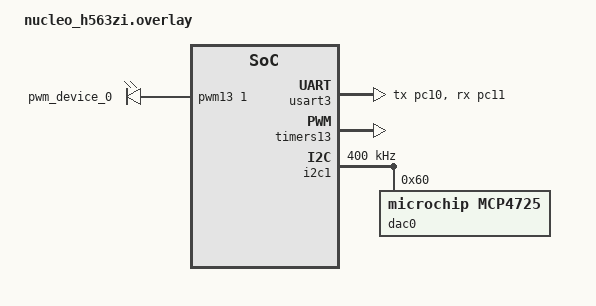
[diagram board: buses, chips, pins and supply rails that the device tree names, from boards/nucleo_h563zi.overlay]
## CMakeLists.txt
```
cmake_minimum_required(VERSION 3.20.0)

#set(ZEPHYR_TOOLCHAIN_VARIANT gnuarmemb)
#set(BOARD_FLASH_RUNNER jlink)

find_package(Zephyr REQUIRED HINTS $ENV{ZEPHYR_BASE})

project(
        app1
        VERSION 0.1
        DESCRIPTION "Blinky app1"
        LANGUAGES C
)

target_sources(app PRIVATE
        src/main.c
        src/usr_fun.c
        src/shell.c)

#target_sources_ifdef(
#    CONFIG_USR_FUN
#    app
#    PRIVATE
#    src/usr_fun.c
#)
```

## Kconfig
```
mainmenu "Customized Menu Name"
source "Kconfig.zephyr"

menu "Application Options"
config USR_FUN
	bool "Enable usr_fun"
	default n
	help
	  Enables the usr_fun function.
endmenu
```

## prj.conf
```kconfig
# --------------------------------------------------
# Application-Specific Settings
# --------------------------------------------------

# Enable custom user-defined functionality
CONFIG_USR_FUN=y

# --------------------------------------------------
# Thread and RTOS Configuration
# --------------------------------------------------

# Enable thread naming (useful for debugging)
CONFIG_THREAD_NAME=y

# Enable stack sentinel to check for stack overflows
CONFIG_STACK_SENTINEL=y

# Generate a file specifying the maximum stack usage per function
CONFIG_STACK_USAGE=y

# --------------------------------------------------
# Tracing and Debugging (SystemView & RTT)
# --------------------------------------------------

# Enable system-wide tracing (required for SystemView)
CONFIG_TRACING=y

# Enable SEGGER SystemView support
CONFIG_SEGGER_SYSTEMVIEW=y

# Start tracing automatically on system boot
CONFIG_SEGGER_SYSTEMVIEW_BOOT_ENABLE=y

# Use SEGGER RTT as the backend for tracing and logging
CONFIG_USE_SEGGER_RTT=y

# Always initialize the RTT backend, even if a debugger is not attached
CONFIG_SEGGER_RTT_INIT_MODE_ALWAYS=y

# Include thread metadata (names, IDs) in the trace output
CONFIG_DEBUG_THREAD_INFO=y

# --------------------------------------------------
# Logging System
# --------------------------------------------------

# Enable the logging subsystem
CONFIG_LOG=y

# Use deferred logging (messages are buffered and processed by a thread)
CONFIG_LOG_MODE_DEFERRED=y

# Allow changing log verbosity levels at runtime
CONFIG_LOG_RUNTIME_FILTERING=y

# Redirect printk() output to the logging system
CONFIG_LOG_PRINTK=y

# Process log buffer as soon as any message is added
CONFIG_LOG_PROCESS_TRIGGER_THRESHOLD=0

# Set the size of the log message buffer (in bytes)
CONFIG_LOG_BUFFER_SIZE=2048

# Set INFO level log color to green
CONFIG_LOG_INFO_COLOR_GREEN=y

# Set DEBUG level log color to blue
CONFIG_LOG_DBG_COLOR_BLUE=y

# Disable code coverage analysis
CONFIG_COVERAGE=n

# --------------------------------------------------
# Shell System
# --------------------------------------------------

# Enable the shell interface
CONFIG_SHELL=y

# Enable the shell as a backend for viewing logs
CONFIG_SHELL_LOG_BACKEND=y

# Set the shell prompt for the UART backend
CONFIG_SHELL_PROMPT_UART=">"

# Set the size of the shell command history buffer
CONFIG_SHELL_HISTORY_BUFFER=128

# Enable shell commands for controlling the logging system
CONFIG_LOG_CMDS=y

# Enable shell commands for kernel information (threads, etc.)
CONFIG_KERNEL_SHELL=y

# Enable shell commands for device information
CONFIG_DEVICE_SHELL=y

# Enable shell commands for PWM control
CONFIG_PWM_SHELL=y

# Disable shell commands for direct memory access (devmem)
CONFIG_DEVMEM_SHELL=n

# Disable return value reporting for shell commands
CONFIG_SHELL_CMDS_RETURN_VALUE=n

# Disable advanced meta key handling (e.g., Alt+key combinations)
CONFIG_SHELL_METAKEYS=n

# Disable shell terminal resize support
CONFIG_SHELL_CMDS_RESIZE=n

# --------------------------------------------------
# Device Drivers
# --------------------------------------------------

# Enable the PWM (Pulse-Width Modulation) subsystem
CONFIG_PWM=y

# Enable the STM32-specific PWM driver
CONFIG_PWM_STM32=y

# Enable DAC (Digital-to-Analog Converter) subsystem
CONFIG_DAC=y

# Enable support for MCP4725 I2C DAC driver
CONFIG_DAC_MCP4725=y

# Enable I2C subsystem support
CONFIG_I2C=y

CONFIG_STM32_VREF=y

CONFIG_SENSOR=y
```

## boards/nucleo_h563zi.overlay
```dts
/ {
  /* --------------------------------------------------
   * Aliases for easier reference in application code
   * -------------------------------------------------- */
  aliases {
    led1 = &yellow_led_1;       // Alias for yellow LED
    led2 = &red_led_1;          // Alias for red LED
    usrbtn = &user_button;      // Alias for user push button
    mypwmalias = &pwm_device_0; // Alias for custom PWM device
  };

  /* --------------------------------------------------
   * Chosen section (empty for now, but used for defaults)
   * Example: stdout, entropy-source, etc.
   * -------------------------------------------------- */
  chosen {
    // No defaults set yet
  };

  /* --------------------------------------------------
   * Logical container for PWM-driven devices (e.g. LEDs)
   * Uses the "pwm-leds" binding to represent PWM channels
   * since a custom container doesn't work due to a bug
   * -------------------------------------------------- */
  pwm_devices {
    compatible = "pwm-leds";

    pwm_device_0: pwm_device_0 {
      pwms = <&pwm13 1 PWM_MSEC(1000) (PWM_POLARITY_NORMAL)>;
    };
  };
};

/* --------------------------------------------------
 * USART3 configuration (for UART or serial)
 * Maps TX to PC10 and RX to PC11
 * -------------------------------------------------- */
&usart3 {
  pinctrl-0 = <&usart3_tx_pc10 &usart3_rx_pc11>;
};

/* --------------------------------------------------
 * TIM13 Timer peripheral setup for PWM
 * Enables the timer and configures PWM output on PF8
 * -------------------------------------------------- */
&timers13 {
  status = "okay";                    // Enable timer 13
  st,prescaler = <10000>;             // Set hardware prescaler

  pwm13: pwm {
    pinctrl-0 = <&tim13_ch1_pf8>;     // Map channel 1 to pin PF8
    pinctrl-names = "default";
    status = "okay";
  };
};

/* --------------------------------------------------
 * I2C1 peripheral setup
 * Enables the peripheral and adds MCP4725 DAC on the
 * bus with addr 0x60
 * -------------------------------------------------- */
&i2c1 {
  status = "okay";                                  // Enable I2C1 peripheral
  clock-frequency = <I2C_BITRATE_FAST>;             // Set I2C clock speed (~400 kHz)
  //  clock-frequency = <I2C_BITRATE_STANDARD>;     // Alternative speed (~100 kHz)

  dac0: mcp4725@60 {
    compatible = "microchip,mcp4725";
    reg = <0x60>;                                   // I2C address (0x60)
    #io-channel-cells = <1>;                        // Required by ADC/DAC bindings
    status = "okay";
  };
};
```

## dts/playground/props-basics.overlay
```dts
/ {

  aliases {
    led1 = &yellow_led_1;
    led2 = &red_led_1;
    usrbtn = &user_button;
    mypwmalias = &pwm_device_0;
  };

  chosen {
  };

  pwm_devices{
    compatible = "pwm-leds";
    pwm_device_0: pwm_device_0 {
      pwms = <&pwm13 1 PWM_MSEC(1000) (PWM_POLARITY_NORMAL)>;
    };
  };

};

&usart3 {
  pinctrl-0 = <&usart3_tx_pc10 &usart3_rx_pc11>;
};

&timers13 {
  status = "okay";
  st,prescaler = <10000>;
  pwm13: pwm {
    pinctrl-0 = <&tim13_ch1_pf8>;
    pinctrl-names = "default";
    status = "okay";
  };
};
```

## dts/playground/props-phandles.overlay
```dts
/ {
  label_a: node_a { /* Empty. */ };
  label_b: node_b { /* Empty. */ };

  node_refs {
    compatible = "custom-props-phandles";

    path-by-path = &{/node_a};
    path-by-label = &label_a;

    phandle-by-path = <&{/node_a}>;
    phandle-by-label = <&label_a>;

    // Simple array of phandles
    phandles = <&{/node_a} &label_b>;
  };
};
```

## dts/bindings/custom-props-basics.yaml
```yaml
description: Custom properties
compatible: "custom-props-basics"

properties:
  existent-boolean:
    type: boolean
  int:
    type: int
    required: true
  array:
    type: array
  uint8-array:
    type: uint8-array
  string:
    type: string
  string-array:
    type: string-array
  enum-int:
    type: int
    enum:
      - 100
      - 200
      - 300
  enum-string:
    type: string
    enum:
      - "whatever"
      - "works"
```

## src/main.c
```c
#include "zephyr/device.h"
#include "zephyr/drivers/pwm.h"
#include <zephyr/drivers/gpio.h>
#include <zephyr/kernel.h>
#include <zephyr/logging/log.h>

#include "usr_fun.h"

LOG_MODULE_REGISTER(main, LOG_LEVEL_DBG);

/* 1000 msec = 1 sec */
#define SLEEP_TIME_LED0_MS 500
#define SLEEP_TIME_LED1_MS 1000

/* The devicetree node identifier for the "led0" alias. */
#define LED0_NODE DT_ALIAS(led0)
#define LED1_NODE DT_ALIAS(led1)
#define LED2_NODE DT_ALIAS(led2)
#define BUTTON_NODE DT_ALIAS(usrbtn)

#define STACKSIZE 500

/*
 * A build error on this line means your board is unsupported.
 * See the sample documentation for information on how to fix this.
 */
static const struct gpio_dt_spec led0 = GPIO_DT_SPEC_GET(LED0_NODE, gpios);
static const struct gpio_dt_spec led1 = GPIO_DT_SPEC_GET(LED1_NODE, gpios);
static const struct gpio_dt_spec led2 = GPIO_DT_SPEC_GET(LED2_NODE, gpios);
static const struct gpio_dt_spec button = GPIO_DT_SPEC_GET(BUTTON_NODE, gpios);
static struct gpio_callback button_cb_data;

const struct pwm_dt_spec pwm_spec = PWM_DT_SPEC_GET(DT_ALIAS(mypwmalias));

void button_pressed(const struct device *dev, struct gpio_callback *cb,
                    uint32_t pins) {
  printk("Button pressed\n");
  gpio_pin_toggle_dt(&led2);
}

_Noreturn void blink0(void) {
  gpio_pin_configure_dt(&led0, GPIO_OUTPUT_ACTIVE);
  while (1) {
    gpio_pin_toggle_dt(&led0);
    k_msleep(SLEEP_TIME_LED0_MS);
  }
}

_Noreturn void blink1(void) {
  gpio_pin_configure_dt(&led1, GPIO_OUTPUT_ACTIVE);

  while (1) {
    gpio_pin_toggle_dt(&led1);
    k_msleep(SLEEP_TIME_LED1_MS);
  }
}

void my_timer_handler(struct k_timer *dummy)
{
        printk("Software timer has expired\n");
}

K_TIMER_DEFINE(my_timer, my_timer_handler, NULL);

    /* start a periodic timer that expires once every second */

int main(void) {
  gpio_pin_configure_dt(&led2, GPIO_OUTPUT_ACTIVE);
  gpio_pin_set_dt(&led2, false);

  gpio_pin_configure_dt(&button, GPIO_INPUT);
  gpio_pin_interrupt_configure_dt(&button, GPIO_INT_EDGE_TO_ACTIVE);
  gpio_init_callback(&button_cb_data, button_pressed, BIT(button.pin));
  gpio_add_callback(button.port, &button_cb_data);

// #ifdef CONFIG_USR_FUN
  usr_fun();
  dac_init();
// #endif

  return 0;
}

K_THREAD_DEFINE(blink0_id, STACKSIZE, blink0, NULL, NULL, NULL, 7, 0, 0);
K_THREAD_DEFINE(blink1_id, STACKSIZE, blink1, NULL, NULL, NULL, 7, 0, 0);
```

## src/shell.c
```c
#include "usr_fun.h"
#include "zephyr/drivers/pwm.h"
#include <stdlib.h>
#include <zephyr/shell/shell.h>

LOG_MODULE_REGISTER(shell, LOG_LEVEL_DBG);

extern const struct pwm_dt_spec pwm_spec;

extern struct k_timer my_timer;

static int function1(const struct shell *sh, size_t argc, char **argv) {
  ARG_UNUSED(argc);
  ARG_UNUSED(argv);
  shell_print(sh, "pong");
  return 0;
}

static int function2(const struct shell *sh, size_t argc, char **argv) {
  ARG_UNUSED(argc);
  ARG_UNUSED(argv);
  ARG_UNUSED(sh);

  uint8_t dump[] = "This is a very stupid example demo dump";

  LOG_ERR("Error message has level  : %d", LOG_LEVEL_ERR);
  LOG_WRN("Warning message has level: %d", LOG_LEVEL_WRN);
  LOG_INF("Info message has level   : %d", LOG_LEVEL_INF);
  LOG_DBG(
      "Debug message has level  : %d and it always include the function name",
      LOG_LEVEL_DBG);
  LOG_HEXDUMP_DBG(&dump, sizeof(dump), "Example dump = ");
  return 0;
}

static int function3(const struct shell *sh, size_t argc, char **argv) {
  uint8_t counter = atoi(argv[1]);
  for (size_t i = 0; i < counter; i++) {
    shell_print(sh, "Love zephyr");
  }
  return 0;
}

static int function4(const struct shell *sh, size_t argc, char **argv) {
  uint16_t pulse = atoi(argv[1]);

  pwm_set_dt(&pwm_spec, PWM_MSEC(1000), PWM_MSEC(pulse));

  return 0;
}

static int function5(const struct shell *sh, size_t argc, char **argv) {
  uint16_t seconds = atoi(argv[1]);

  k_timer_start(&my_timer, K_SECONDS(seconds), K_NO_WAIT);
  shell_print(sh, "Starting timer for %d seconds", seconds);

  return 0;
}

static int function6(const struct shell *sh, size_t argc, char **argv) {
  uint16_t newDacValue = atoi(argv[1]);

  dac_set(newDacValue);
  // shell_print(sh, "DAC set to %d", newDacValue);
  return 0;
}

static int function7(const struct shell *sh, size_t argc, char **argv) {
  vref_log();
  return 0;
}

SHELL_STATIC_SUBCMD_SET_CREATE(
    sub_demo, SHELL_CMD(demo1, NULL, "First demo function", function1),
              SHELL_CMD(demo2, NULL, "Second demo function", function2),
              SHELL_CMD_ARG(demo3, NULL, "Third demo function", function3, 2, 0),
              SHELL_CMD_ARG(pwm, NULL,
                  "Pwm demo function\n"
                  "Parameters:\n"
                  "  seconds - seconds to delay the output\n",
                  function4, 2, 0),
              SHELL_CMD_ARG(timer, NULL, "Software timer demo function", function5, 2, 0),
              SHELL_CMD_ARG(dac, NULL, "Dac I2C Command", function6, 2, 0),
              SHELL_CMD(vref, NULL, "VRef log", function7),
              SHELL_SUBCMD_SET_END /* Array terminated. */
);

SHELL_CMD_REGISTER(demo, &sub_demo, "Log test", NULL);
```

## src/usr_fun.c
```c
// Content of usr_fun.c
#include "usr_fun.h"
#include <zephyr/kernel.h>
#include <zephyr/device.h>
#include <zephyr/drivers/dac.h>
#include <zephyr/drivers/sensor.h>
#include <zephyr/logging/log.h>


LOG_MODULE_REGISTER(usr_fun, CONFIG_LOG_DEFAULT_LEVEL);

#ifdef CONFIG_USR_FUN

// Get a handle to the DAC device defined in the Devicetree with label "dac0"
const struct device *dac_dev = DEVICE_DT_GET(DT_NODELABEL(dac0));

const struct device *vref_dev = DEVICE_DT_GET(DT_NODELABEL(vref));

struct sensor_value vdd;

// Define the DAC channel configuration
struct dac_channel_cfg ch_cfg = {
    .channel_id = 0,     // MCP4725 has only one channel (channel 0)
    .resolution = 12,    // MCP4725 is a 12-bit DAC
};

void usr_fun(void) {
    printk("Message in a user function\n");
}

void dac_init(void)
{
  // Check if the DAC device is ready for use
  if (!device_is_ready(dac_dev)) {
    printk("DAC device not ready!\n");
    return;
  }

  // Set up the DAC channel with the specified configuration
  if (dac_channel_setup(dac_dev, &ch_cfg) != 0) {
    printk("DAC channel setup failed\n");
    return;
  }

  if (dac_write_value(dac_dev, 0, 0) != 0) {
    printk("DAC write failed\n");
  } else {
    printk("DAC output set to mid-scale\n");
  }
}

void dac_set(uint16_t newValue){
  // Set up the DAC channel with the specified configuration
  if (dac_write_value(dac_dev, 0, newValue) == 0) {
    LOG_INF("Dac's new value: %d", newValue);
  }
}

// Get device from DT label
void vref_log(void) {
  if (!device_is_ready(vref_dev)) {
    LOG_ERR("VREF device not ready");
    return;
  }

  int ret = sensor_sample_fetch(vref_dev);
  if (ret < 0) {
    LOG_ERR("Failed to fetch VREF sample (%d)", ret);
    return;
  }

  ret = sensor_channel_get(vref_dev, SENSOR_CHAN_VOLTAGE, &vdd);
  if (ret < 0) {
    LOG_ERR("Failed to read VDD (%d)", ret);
    return;
  }

  LOG_INF("VDD = %d.%03d V", vdd.val1, vdd.val2);
}

#else
void usr_fun(void){}

void dac_set(uint16_t newValue){}

void dac_init(void){
  LOG_WRN("DAC not enabled");
}

void vref_log(void){}

#endif
```

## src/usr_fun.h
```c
// Content of usr_fun.h
#pragma once

#include "stdint.h"

void usr_fun(void);

void dac_init(void);

void dac_set(uint16_t newValue);

void vref_log(void);
```
